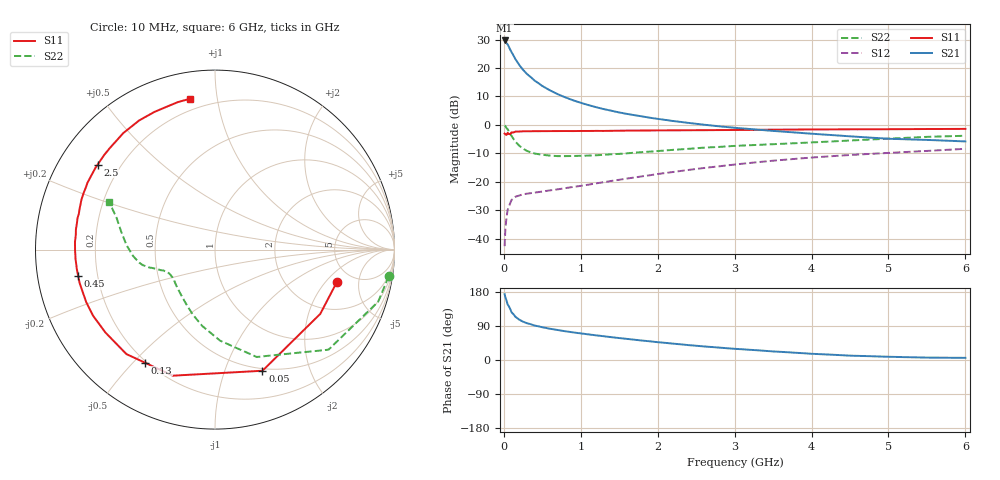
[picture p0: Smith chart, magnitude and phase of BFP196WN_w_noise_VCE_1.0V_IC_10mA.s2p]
! Infineon Technologies  Discrete & RF Semiconductors
! BFP196WN
! VCE =  1.0 V,  IC =  10 mA
! Common Emitter S-Parameters:  Jan 2017
# GHz  S  MA  R  50
!  f  S11  S21  S12  S22
! GHz  MAG  ANG  MAG  ANG  MAG  ANG  MAG  ANG
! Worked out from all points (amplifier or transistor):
!   77 points, 10 MHz to 6 GHz, reference 50 ohm
!   highest |S21| = 29.7 dB at 10 MHz (marker M1)
!   |S21| within 3 dB of that: start of sweep to 78.85 MHz
!   unconditionally stable (mu >= 1): 1.078 GHz to 3.086 GHz
!   at 130 MHz: K = 0.19, MSG = 24.9 dB, |S12| = -25.7 dB
!   at 2.2 GHz: K = 1.07, MAG = 7.3 dB, |S12| = -16.5 dB
!   at 6 GHz: K = 0.94, MSG = 1.3 dB, |S12| = -8.4 dB
!   lowest NFmin = 0.92 dB at 450 MHz
!   S11 on the Smith chart (normalised r, x): 10 MHz: 3.77, -2.66; 50 MHz: 0.48, -1.35; 130 MHz: 0.19, -0.54; 450 MHz: 0.13, -0.09; 2.5 GHz: 0.12, +0.32; 6 GHz: 0.14, +0.84
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0.01  0.7032 -14.7  30.5 173.7  0.0074 82.9  0.979 -8.8
0.02  0.6872 -31.4  29.28 165.5  0.0148 76.3  0.9544 -17.7
0.05  0.7249 -68.6  25.97 146.5  0.0323 60.7  0.8431 -41.4
0.1  0.7408 -108.5  19 125.9  0.048 43.5  0.6417 -68.8
0.13  0.7413 -121.8  16.14 119.6  0.0519 37.9  0.5547 -78.6
0.15  0.7632 -130.3  14.38 114.1  0.0547 34.6  0.5081 -86.8
0.2  0.7656 -142.9  11.33 106.5  0.0574 30.9  0.4312 -99.5
0.25  0.7728 -151.5  9.303 101.1  0.0605 29.4  0.3833 -108.7
0.3  0.7749 -157.8  7.87 97.1  0.0619 28.5  0.3491 -116.4
0.4  0.777 -166.2  6.005 90.9  0.0646 29.7  0.3146 -127.1
0.45  0.7762 -169.1  5.415 88.9  0.066 30.4  0.3059 -130.8
0.6  0.7787 -176.2  4.048 82.5  0.0708 33.5  0.2891 -140.3
0.7  0.7796 -179.8  3.472 79.2  0.0737 35.9  0.283 -144.1
0.9  0.7797 174.1  2.71 72.9  0.0813 39.6  0.2844 -149.4
1.1  0.7831 169.4  2.23 67.6  0.0892 43.6  0.2892 -153.1
1.5  0.7904 161.5  1.655 57.9  0.1087 48.8  0.3097 -158.0
2.1  0.8024 150.7  1.224 45.2  0.1429 52.6  0.3559 -162.9
2.5  0.8073 144.1  1.047 37.6  0.1683 52.9  0.3893 -165.8
3.1  0.8154 134.6  0.869 28.3  0.208 51.2  0.4338 -171.3
4.1  0.8343 119.1  0.686 15.5  0.2727 45.2  0.4999 175.6
5.1  0.8416 107.5  0.566 8.1  0.3275 37.9  0.5821 161.5
6  0.852 99.4  0.513 5.7  0.3801 31.8  0.645 155.7
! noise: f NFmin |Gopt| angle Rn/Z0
0.45  0.92  0.37  146  0.05
0.9  1.09  0.52  167  0.05
1.9  2.29  0.71  206  0.13
2.4  3.04  0.72  213  0.24
